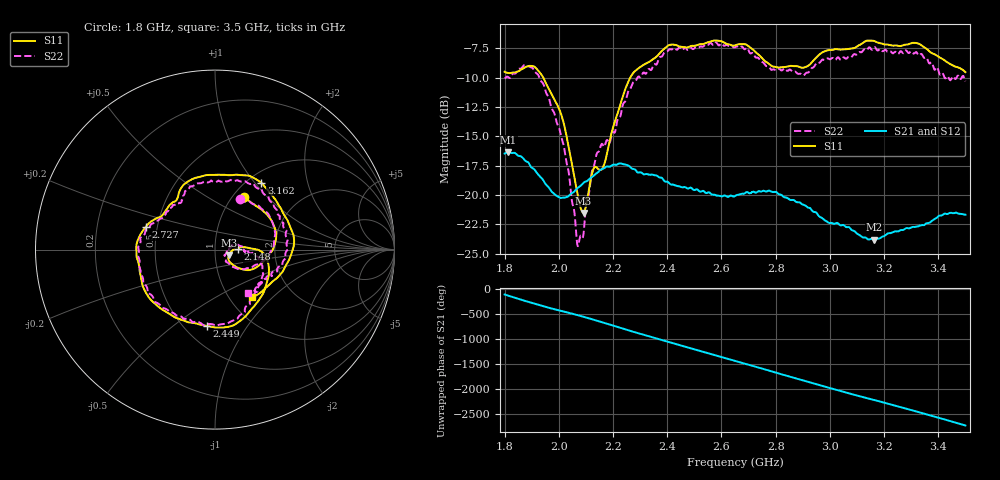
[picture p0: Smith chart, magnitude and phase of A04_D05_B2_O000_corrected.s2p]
! Created with skrf 1.9.0 (http://scikit-rf.org).
# Hz S RI R 50.0
!freq ReS11 ImS11 ReS21 ImS21 ReS12 ImS12 ReS22 ImS22
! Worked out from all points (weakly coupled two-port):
!   1601 points, 1.8 GHz to 3.5 GHz, reference 50 ohm
!   highest |S21| = -16.38 dB at 1.814 GHz (marker M1); lowest = -23.8 dB at 3.163 GHz (marker M2)
!   lowest |S11| = -21.5 dB at 2.091 GHz (marker M3), VSWR 1.18, Z = 58.4 - j3.45 ohm
!   |S11| at or under -10 dB: 1.942 GHz to 2.264 GHz (321.4 MHz wide, 15.3 % of centre)
!   |S22| runs from -24.4 to -7.0 dB; largest |S21 - S12| = 0.0028
!   S11 on the Smith chart (normalised r, x): 1.8 GHz: 1.13, +0.74; 2.148 GHz: 1.29, +0.00; 2.449 GHz: 0.64, -0.67; 2.727 GHz: 0.43, +0.13; 3.162 GHz: 1.15, +1.08; 3.5 GHz: 1.27, -0.75
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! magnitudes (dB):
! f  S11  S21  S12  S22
! 1.8 GHz  -9.5  -16.5  -16.5  -10.1
! 1.814 GHz  -9.6  -16.4  -16.4  -10.0
! 1.881 GHz  -9.1  -17.2  -17.2  -9.0
! 1.942 GHz  -10.0  -18.8  -18.8  -10.5
! 2.013 GHz  -13.4  -20.2  -20.3  -15.4
! 2.068 GHz  -19.8  -19.5  -19.5  -24.2
! 2.084 GHz  -21.3  -19.2  -19.1  -23.5
! 2.091 GHz  -21.5  -19.0  -19.0  -23.4
! 2.126 GHz  -17.9  -18.4  -18.4  -17.7
! 2.148 GHz  -17.8  -18.0  -18.0  -16.3
! 2.191 GHz  -15.1  -17.6  -17.6  -15.3
! 2.262 GHz  -10.1  -17.6  -17.6  -11.0
! 2.367 GHz  -8.1  -18.5  -18.4  -8.5
! 2.449 GHz  -7.4  -19.3  -19.3  -7.5
! 2.65 GHz  -7.3  -20.1  -20.1  -7.4
! 2.727 GHz  -7.8  -19.8  -19.8  -8.3
! 2.934 GHz  -8.7  -21.3  -21.3  -9.2
! 3.162 GHz  -6.9  -23.8  -23.8  -7.5
! 3.163 GHz  -6.9  -23.8  -23.8  -7.4
! 3.217 GHz  -7.2  -23.3  -23.3  -7.8
! 3.326 GHz  -7.1  -22.7  -22.7  -8.1
! 3.5 GHz  -9.5  -21.7  -21.7  -10.3
